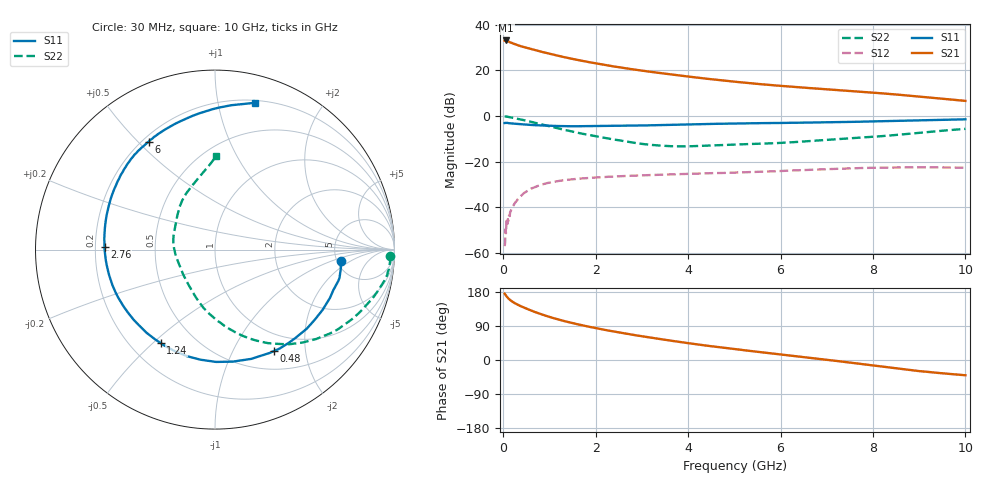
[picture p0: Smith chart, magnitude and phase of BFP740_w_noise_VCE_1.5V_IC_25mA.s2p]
! Infineon Technologies  Discrete & RF Semiconductors
! BFP740
! VCE =  1.5 V,  IC =  25 mA
! Common Emitter S-Parameters:  Jan 2016
# GHz  S  MA  R  50
!  f  S11  S21  S12  S22
! GHz  MAG  ANG  MAG  ANG  MAG  ANG  MAG  ANG
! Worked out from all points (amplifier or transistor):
!   229 points, 30 MHz to 10 GHz, reference 50 ohm
!   highest |S21| = 33.2 dB at 60 MHz (marker M1)
!   |S21| within 3 dB of that: start of sweep to 460.8 MHz
!   unconditionally stable (mu >= 1): 5.612 GHz to end of sweep
!   at 280 MHz: K = 0.23, MSG = 34.4 dB, |S12| = -37.5 dB
!   at 1.78 GHz: K = 0.50, MSG = 25.6 dB, |S12| = -27.3 dB
!   at 10 GHz: K = 1.04, MAG = 13.4 dB, |S12| = -22.6 dB
!   lowest NFmin = 0.78 dB at 450 MHz
!   S11 on the Smith chart (normalised r, x): 30 MHz: 5.41, -1.31; 480 MHz: 0.74, -1.46; 1.24 GHz: 0.32, -0.53; 2.76 GHz: 0.24, +0.01; 6 GHz: 0.22, +0.54; 10 GHz: 0.22, +1.29
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0.03  0.7033 -5.0  44.86 175.1  0.0014 65.3  0.9777 -2.2
0.06  0.7092 -9.6  45.56 169.9  0.0027 89.8  0.9748 -5.3
0.08  0.7113 -12.8  45.07 166.7  0.0053 81.9  0.9706 -7.4
0.115  0.6987 -18.1  43.07 162.1  0.0056 82.2  0.9584 -10.6
0.15  0.6947 -22.8  41.61 158.2  0.0078 82.2  0.9412 -13.5
0.2  0.6872 -29.2  39.59 153.7  0.01 77.9  0.9187 -17.2
0.34  0.6681 -45.5  35.02 144.2  0.0161 69.7  0.8597 -26.4
0.48  0.6536 -60.0  31.82 136.8  0.0215 63.1  0.8018 -34.9
0.7  0.632 -81.0  27.71 126.0  0.0282 54.3  0.7115 -46.7
0.86  0.6201 -94.2  25.25 119.2  0.032 48.7  0.6483 -54.3
1.06  0.6096 -108.8  22.52 111.5  0.0356 43.0  0.5772 -63.0
1.24  0.6023 -120.2  20.41 105.3  0.0382 38.9  0.522 -69.9
1.7  0.5986 -144.0  16.32 91.8  0.0427 31.2  0.412 -85.2
2.16  0.605 -162.2  13.42 80.4  0.0459 26.1  0.3366 -99.8
2.76  0.6157 178.7  10.76 67.5  0.049 21.4  0.265 -118.3
3.4  0.6337 162.2  8.76 55.1  0.0518 17.3  0.2252 -141.7
4.3  0.6648 143.4  6.78 39.5  0.0554 12.8  0.2224 -173.9
5.1  0.6901 131.5  5.555 27.3  0.0579 9.5  0.2391 166.3
6  0.7061 121.5  4.6 14.8  0.0623 6.4  0.258 148.7
6.8  0.7247 112.5  3.999 3.5  0.0671 2.3  0.2891 135.6
8.4  0.782 91.1  3.032 -20.5  0.0743 -9.2  0.3774 109.9
10  0.8486 74.6  2.155 -40.3  0.074 -18.9  0.5237 89.2
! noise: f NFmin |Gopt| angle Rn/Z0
0.45  0.78  0.07  178  0.26
0.9  0.79  0.08  -174  0.26
1.5  0.81  0.08  -169  0.25
1.9  0.82  0.09  -163  0.24
2.4  0.85  0.09  -156  0.23
3.5  0.95  0.1  -144  0.21
5.5  1.11  0.22  -105  0.19
10  1.46  0.52  -65  0.28
